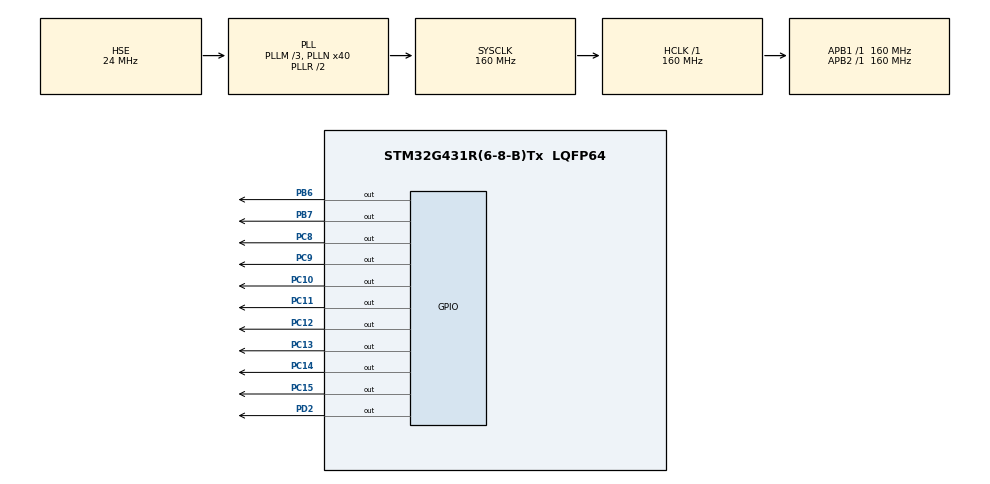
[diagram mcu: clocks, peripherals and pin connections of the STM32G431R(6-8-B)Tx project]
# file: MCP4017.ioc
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Mcu.Family=STM32G4
Mcu.Name=STM32G431R(6-8-B)Tx
Mcu.Package=LQFP64
NVIC.PriorityGroup=NVIC_PRIORITYGROUP_4
PA13.Mode=Serial_Wire
PA13.Signal=SYS_JTMS-SWDIO
PA14.Mode=Serial_Wire
PA14.Signal=SYS_JTCK-SWCLK
PB6.Signal=GPIO_Output
PB7.Signal=GPIO_Output
PC10.Signal=GPIO_Output
PC11.Signal=GPIO_Output
PC12.Signal=GPIO_Output
PC13.Signal=GPIO_Output
PC14-OSC32_IN.Signal=GPIO_Output
PC15-OSC32_OUT.Signal=GPIO_Output
PC8.Signal=GPIO_Output
PC9.Signal=GPIO_Output
PD2.Signal=GPIO_Output
PF0-OSC_IN.Mode=HSE-External-Oscillator
PF0-OSC_IN.Signal=RCC_OSC_IN
PF1-OSC_OUT.Mode=HSE-External-Oscillator
PF1-OSC_OUT.Signal=RCC_OSC_OUT
ProjectManager.HeapSize=0x200
ProjectManager.StackSize=0x400
ProjectManager.TargetToolchain=MDK-ARM V5.27
RCC.ADC12Freq_Value=160000000
RCC.AHBFreq_Value=160000000
RCC.APB1Freq_Value=160000000
RCC.APB1TimFreq_Value=160000000
RCC.APB2Freq_Value=160000000
RCC.APB2TimFreq_Value=160000000
RCC.CortexFreq_Value=160000000
RCC.EXTERNAL_CLOCK_VALUE=12288000
RCC.HCLKFreq_Value=160000000
RCC.HSE_VALUE=24000000
RCC.HSI48_VALUE=48000000
RCC.HSI_VALUE=16000000
RCC.LSE_VALUE=32768
RCC.PLLM=RCC_PLLM_DIV3
RCC.PLLN=40
RCC.PLLSourceVirtual=RCC_PLLSOURCE_HSE
RCC.SYSCLKFreq_VALUE=160000000
RCC.SYSCLKSource=RCC_SYSCLKSOURCE_PLLCLK
RCC.USBFreq_Value=160000000
RCC.VCOOutputFreq_Value=320000000
VP_SYS_VS_DBSignals.Mode=DisableDeadBatterySignals
board=custom

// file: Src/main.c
/* USER CODE BEGIN Header */
/**
  ******************************************************************************
  * @file           : main.c
  * @brief          : Main program body
  ******************************************************************************
  * @attention
  *
  * <h2><center>&copy; Copyright (c) 2023 STMicroelectronics.
  * All rights reserved.</center></h2>
  *
  * This software component is licensed by ST under BSD 3-Clause license,
  * the "License"; You may not use this file except in compliance with the
  * License. You may obtain a copy of the License at:
  *                        opensource.org/licenses/BSD-3-Clause
  *
  ******************************************************************************
  */
/* USER CODE END Header */

#include "main.h"
#include "gpio.h"

/* USER CODE BEGIN Includes */
#include "lcd_hal.h"
#include "stdio.h"
#include "i2c_hal.h"
/* USER CODE END Includes */

/* USER CODE BEGIN PV */
uint8_t Mcp_Write_Value=125;//MCP写入值
uint8_t Mcp_Read_Value=0;//MCP读取值
char Lcd_Line1[20];//第一行显示内容
char Lcd_Line2[20];//第二行显示内容
/* USER CODE END PV */

void SystemClock_Config(void);
/* USER CODE BEGIN PFP */
void OpenLed(void);
void CloseLed(void);
/* USER CODE END PFP */

int main(void)
{

  /* MCU Configuration--------------------------------------------------------*/

  /* Reset of all peripherals, Initializes the Flash interface and the Systick. */
  HAL_Init();

  /* Configure the system clock */
  SystemClock_Config();

  /* Initialize all configured peripherals */
  MX_GPIO_Init();
  /* USER CODE BEGIN 2 */
  I2CInit();
  LCD_Init();
  LCD_Clear(Black);
  LCD_SetTextColor(Black);
  LCD_SetBackColor(White);
  LCD_DisplayStringLine(Line0, "MCP4017 Test Progrom");
  McpWrite(Mcp_Write_Value);
  sprintf(Lcd_Line1,"MCP4017 Write %3d",Mcp_Write_Value);
  LCD_SetTextColor(White);
  LCD_SetBackColor(Black);
  LCD_DisplayStringLine(Line1, (uint8_t*)Lcd_Line1);
  Mcp_Read_Value=McpRead();
  sprintf(Lcd_Line2,"MCP4017 Read  %3d",Mcp_Read_Value);
  LCD_SetTextColor(White);
  LCD_SetBackColor(Black);
  LCD_DisplayStringLine(Line2, (uint8_t*)Lcd_Line2);
  OpenLed();
  CloseLed();

  /* USER CODE END 2 */

  /* Infinite loop */
  while (1)
  {

  }
}

void SystemClock_Config(void)
{
  RCC_OscInitTypeDef RCC_OscInitStruct = {0};
  RCC_ClkInitTypeDef RCC_ClkInitStruct = {0};

  /** Configure the main internal regulator output voltage
  */
  HAL_PWREx_ControlVoltageScaling(PWR_REGULATOR_VOLTAGE_SCALE1_BOOST);
  /** Initializes the CPU, AHB and APB busses clocks
  */
  RCC_OscInitStruct.OscillatorType = RCC_OSCILLATORTYPE_HSE;
  RCC_OscInitStruct.HSEState = RCC_HSE_ON;
  RCC_OscInitStruct.PLL.PLLState = RCC_PLL_ON;
  RCC_OscInitStruct.PLL.PLLSource = RCC_PLLSOURCE_HSE;
  RCC_OscInitStruct.PLL.PLLM = RCC_PLLM_DIV3;
  RCC_OscInitStruct.PLL.PLLN = 40;
  RCC_OscInitStruct.PLL.PLLP = RCC_PLLP_DIV2;
  RCC_OscInitStruct.PLL.PLLQ = RCC_PLLQ_DIV2;
  RCC_OscInitStruct.PLL.PLLR = RCC_PLLR_DIV2;
  if (HAL_RCC_OscConfig(&RCC_OscInitStruct) != HAL_OK)
  {
    Error_Handler();
  }
  /** Initializes the CPU, AHB and APB busses clocks
  */
  RCC_ClkInitStruct.ClockType = RCC_CLOCKTYPE_HCLK|RCC_CLOCKTYPE_SYSCLK
                              |RCC_CLOCKTYPE_PCLK1|RCC_CLOCKTYPE_PCLK2;
  RCC_ClkInitStruct.SYSCLKSource = RCC_SYSCLKSOURCE_PLLCLK;
  RCC_ClkInitStruct.AHBCLKDivider = RCC_SYSCLK_DIV1;
  RCC_ClkInitStruct.APB1CLKDivider = RCC_HCLK_DIV1;
  RCC_ClkInitStruct.APB2CLKDivider = RCC_HCLK_DIV1;

  if (HAL_RCC_ClockConfig(&RCC_ClkInitStruct, FLASH_LATENCY_7) != HAL_OK)
  {
    Error_Handler();
  }
}

/* USER CODE BEGIN 4 */
void OpenLed(void)
{
	HAL_GPIO_WritePin(GPIOC, GPIO_PIN_13|GPIO_PIN_14|GPIO_PIN_15|GPIO_PIN_8
                          |GPIO_PIN_9|GPIO_PIN_10|GPIO_PIN_11|GPIO_PIN_12,GPIO_PIN_RESET);
	HAL_GPIO_WritePin(GPIOD,GPIO_PIN_2,GPIO_PIN_SET);
	HAL_GPIO_WritePin(GPIOD,GPIO_PIN_2,GPIO_PIN_RESET);
}

void CloseLed(void)
{
	HAL_GPIO_WritePin(GPIOC, GPIO_PIN_13|GPIO_PIN_14|GPIO_PIN_15|GPIO_PIN_8
                          |GPIO_PIN_9|GPIO_PIN_10|GPIO_PIN_11|GPIO_PIN_12,GPIO_PIN_SET);
	HAL_GPIO_WritePin(GPIOD,GPIO_PIN_2,GPIO_PIN_SET);
	HAL_GPIO_WritePin(GPIOD,GPIO_PIN_2,GPIO_PIN_RESET);
}
/* USER CODE END 4 */

void Error_Handler(void)
{
}

/************************ (C) COPYRIGHT STMicroelectronics *****END OF FILE****/
